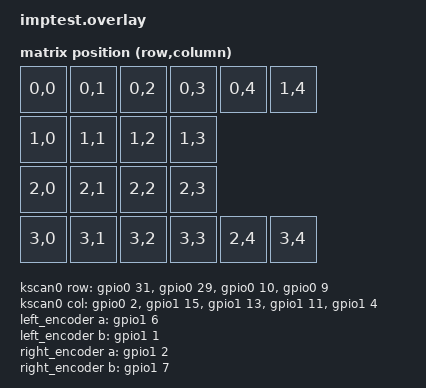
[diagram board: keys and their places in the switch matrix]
#include "imptest-layouts.dtsi"
#include <dt-bindings/zmk/matrix_transform.h>

/ {
    chosen {
        zmk,kscan = &kscan0;
		zmk,physcial-layout = <&physical_layout0>;
        zephyr,display = &st7789v_st7789v_waveshare_240x240;
        zmk,display-led = &disp_led;
    };

	leds {
		compatible = "gpio-leds";

		disp_led: disp_led {
			gpios = <&gpio0 20 GPIO_ACTIVE_HIGH>;
			label = "Display LED";
		};
	};

    kscan0: kscan0 {
        compatible = "zmk,kscan-gpio-matrix";
        diode-direction = "col2row";
        wakeup-source;

        col-gpios
            = <&gpio0 2 GPIO_ACTIVE_HIGH>
            , <&gpio1 15 GPIO_ACTIVE_HIGH>
            , <&gpio1 13 GPIO_ACTIVE_HIGH>
			, <&gpio1 11 GPIO_ACTIVE_HIGH>
			, <&gpio1 4 GPIO_ACTIVE_HIGH>
            ;

        row-gpios
            = <&gpio0 31 (GPIO_ACTIVE_HIGH | GPIO_PULL_DOWN)>
            , <&gpio0 29 (GPIO_ACTIVE_HIGH | GPIO_PULL_DOWN)>
            , <&gpio0 10 (GPIO_ACTIVE_HIGH | GPIO_PULL_DOWN)>
			, <&gpio0 9 (GPIO_ACTIVE_HIGH | GPIO_PULL_DOWN)>
            ;
    };

	matrix_transform0: matrix_transform_0 {
		compatible = "zmk,matrix-transform";
		rows = <4>;
		columns = <5>;
		map = <
			RC(0,0) RC(0,1) RC(0,2) RC(0,3) RC(0,4) RC(1,4)
			RC(1,0) RC(1,1) RC(1,2) RC(1,3)
			RC(2,0) RC(2,1) RC(2,2) RC(2,3)
			RC(3,0) RC(3,1) RC(3,2) RC(3,3) RC(2,4) RC(3,4)
		>;
	};

	left_encoder: encoder_left {
        compatible = "alps,ec11";
        a-gpios = <&gpio1 6 (GPIO_ACTIVE_HIGH | GPIO_PULL_UP)>;
        b-gpios = <&gpio1 1 (GPIO_ACTIVE_HIGH | GPIO_PULL_UP)>;
        steps = <80>;
        status = "disabled";
    };

	right_encoder: encoder_right {
        compatible = "alps,ec11";
        a-gpios = <&gpio1 2 (GPIO_ACTIVE_HIGH | GPIO_PULL_UP)>;
        b-gpios = <&gpio1 7 (GPIO_ACTIVE_HIGH | GPIO_PULL_UP)>;
        steps = <80>;
        status = "disabled";
    };

	sensors: sensors {
        compatible = "zmk,keymap-sensors";
        sensors = <&left_encoder &right_encoder>;
        triggers-per-rotation = <20>;
    };
};

&left_encoder {
    status = "okay";
};

&right_encoder {
    status = "okay";
};

&physical_layout0 {
	kscan = <&kscan0>;
	transform = <&matrix_transform0>;
};

&pinctrl {
	spi3_default: spi3_default {
		group1 {
			psels = <NRF_PSEL(SPIM_SCK, 0, 24)>,
				<NRF_PSEL(SPIM_MISO, 0, 6)>,
				<NRF_PSEL(SPIM_MOSI, 0, 11)>;
		};
	};

	spi3_sleep: spi3_sleep {
		group1 {
			psels = <NRF_PSEL(SPIM_SCK, 0, 24)>,
				<NRF_PSEL(SPIM_MISO, 0, 6)>,
				<NRF_PSEL(SPIM_MOSI, 0, 11)>;
			low-power-enable;
		};
	};
};

&spi3 {
    status = "okay";
    pinctrl-0 = <&spi3_default>;
    pinctrl-1 = <&spi3_sleep>;
    pinctrl-names = "default", "sleep";
    cs-gpios = <&gpio0 8 GPIO_ACTIVE_LOW>, <&gpio1 0 GPIO_ACTIVE_LOW>;  /* CS pin */

    w25q128: w25q128@0 {
        status = "okay";
        compatible = "jedec,spi-nor";
        reg = <0>;  /* CS line 0 */
        spi-max-frequency = <8000000>;
        size = <0x1000000>;
        // label = "W25Q128";
        jedec-id = [ef 40 18];  /* Manufacturer and device ID for W25Q128JV */

        // has-dpd;
        // t-enter-dpd = <20000>;
        // t-exit-dpd = <100000>;
        partitions {
            compatible = "fixed-partitions";
            #address-cells = <1>;
            #size-cells = <1>;

            storage_partition: partition@0 {
                label = "storage_partition";
                reg = <0x0 DT_SIZE_K(128)>;
            };
        };
    };

    st7789v_st7789v_waveshare_240x240: st7789v@0 {
		compatible = "sitronix,st7789v";
		spi-max-frequency = <20000000>;
		reg = <0>;
		cmd-data-gpios = <&gpio0 22 GPIO_ACTIVE_LOW>;
		reset-gpios = <&gpio0 17 GPIO_ACTIVE_LOW>;
		width = <240>;
		height = <240>;
		x-offset = <0>;
		y-offset = <0>;
		vcom = <0x19>;
		gctrl = <0x35>;
		vrhs = <0x12>;
		vdvs = <0x20>;
		mdac = <0x00>;
		gamma = <0x01>;
		colmod = <0x05>;
		lcm = <0x2c>;
		porch-param = [0c 0c 00 33 33];
		cmd2en-param = [5a 69 02 01];
		pwctrl1-param = [a4 a1];
		pvgam-param = [D0 04 0D 11 13 2B 3F 54 4C 18 0D 0B 1F 23];
		nvgam-param = [D0 04 0C 11 13 2C 3F 44 51 2F 1F 1F 20 23];
		ram-param = [00 F0];
		rgb-param = [CD 08 14];
	};
};

&flash0 {
    /*
     * For more information, see:
     * http://docs.zephyrproject.org/latest/devices/dts/flash_partitions.html
     */
    partitions {
        // compatible = "fixed-partitions";
        // #address-cells = <1>;
        // #size-cells = <1>;

        // sd_partition: partition@0 {
        //     reg = <0x00000000 0x00026000>;
        // };
        // code_partition: partition@26000 {
        //     reg = <0x00026000 0x000c6000>;
        // };

        /*
         * The flash starting at 0x000ec000 and ending at
         * 0x000f3fff is reserved for use by the application.
         */

        /*
         * Storage partition will be used by FCB/LittleFS/NVS
         * if enabled.
         */
        /delete-node/ partition@ec000;

        // boot_partition: partition@f4000 {
        //     reg = <0x000f4000 0x0000c000>;
        // };
    };
};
